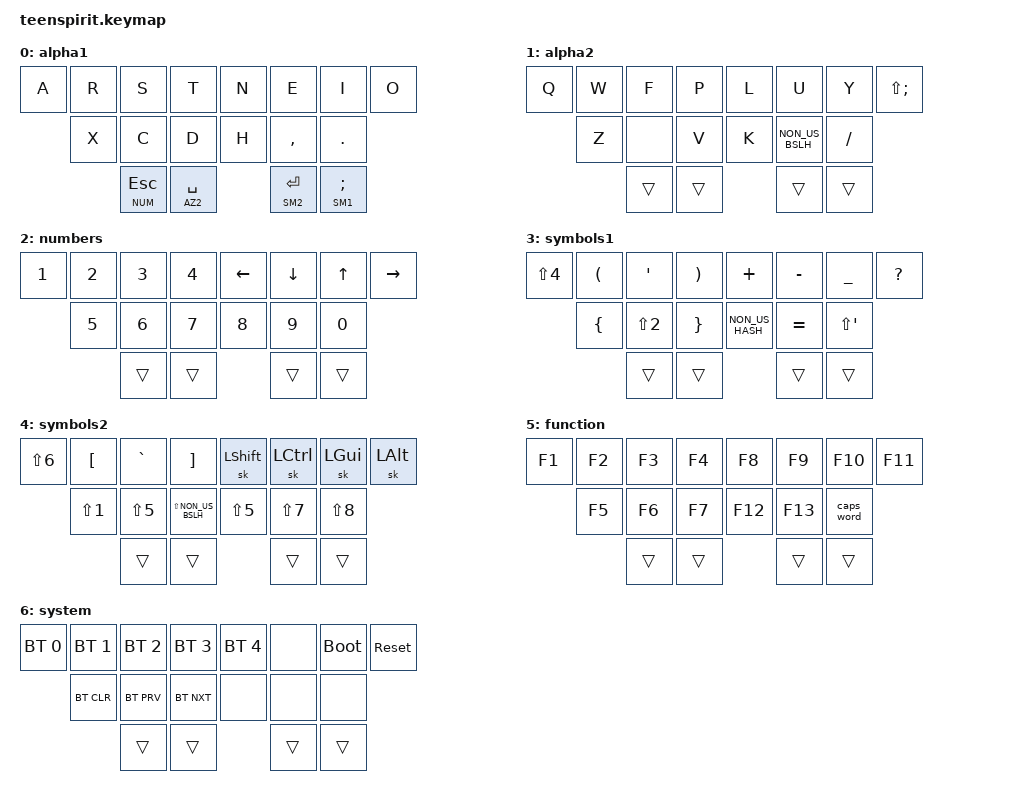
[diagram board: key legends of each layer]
#include <behaviors.dtsi>
#include <dt-bindings/zmk/keys.h>
#include <dt-bindings/zmk/bt.h>

#define AZ1 0
#define AZ2 1
#define NUM 2
#define SM1 3
#define SM2 4
#define FUN 5
#define SYS 6

//  _______________________  _______________________
// |  0  |  1  |  2  |  3  \/   4 |   5 |   6 |   7 |
//       \  8  |  9  | 10  /\  11 |  12 |  13 /
//             \ 14  | 15 /  \ 16 |  17 /
//              ----------    ----------

/ {
		combos {
			compatible = "zmk,combos";

			combo_bkspc {
				key-positions = <14 15>;
				bindings = <&kp BSPC>;
			};

			combo_tmux {
				key-positions = <16 17>;
				bindings = <&kp LC(A)>;
			};

			combo_esc {
				key-positions = <4 6>;
				bindings = <&kp ESC>;
			};

			combo_tab {
				key-positions = <1 3>;
				bindings = <&kp TAB>;
			};
			
			combo_fn {
				key-positions = <15 16>;
				bindings = <&mo FUN>;
			};

			combo_sys {
				key-positions = <14 17>;
				bindings = <&mo SYS>;
			};

			combo_g {
				key-positions = <2 3>;
				bindings = <&kp G>;
				layers = <AZ1>;
			};

			combo_m {
				key-positions = <4 5>;
				bindings = <&kp M>;
				layers = <AZ1>;
			};

			combo_b {
				key-positions = <2 3>;
				bindings = <&kp B>;
				layers = <AZ2>;
			};

			combo_j {
				key-positions = <4 5>;
				bindings = <&kp J>;
				layers = <AZ2>;
			};

			combo_lt {
				key-positions = <4 11>;
				bindings = <&kp LT>;
				layers = <SM1>;
			};

			combo_gt {
				key-positions = <6 13>;
				bindings = <&kp GT>;
				layers = <SM1>;
			};

			combo_nxt {
				key-positions = <6 11>;
				bindings = <&kp LG(LC(RIGHT))>;
				layers = <AZ1>;
			};

			combo_prv {
				key-positions = <1 10>;
				bindings = <&kp LG(LC(LEFT))>;
				layers = <AZ1>;
			};

			combo_tilde {
				key-positions = <11 13>;
				bindings = <&kp LS(NON_US_HASH)>;
				layers = <SM1	SM2>;
			};
		};

    keymap {
        compatible = "zmk,keymap";

        alpha1 {
            bindings = <
                &kp A    &kp R     &kp S     &kp T        &kp N    &kp E     &kp I     &kp O
                         &kp X     &kp C     &kp D        &kp H    &kp COMMA &kp DOT
                                   &lt NUM ESC   &lt AZ2 SPACE    &lt SM2 RET  &lt SM1 SEMI
            >;
        };
        alpha2 {
            bindings = <
                &kp Q    &kp W     &kp F     &kp P        &kp L    &kp U     &kp Y    &kp LS(SEMI) 
                         &kp Z     &none     &kp V        &kp K    &kp NON_US_BSLH &kp SLASH
                                   &trans    &trans    &trans  &trans
            >;
        };
        numbers {
            bindings = <
                &kp N1    &kp N2  &kp N3     &kp N4        &kp LEFT &kp DOWN &kp UP     &kp RIGHT
                          &kp N5  &kp N6     &kp N7        &kp N8   &kp N9	 &kp N0
                                  &trans     &trans        &trans   &trans
            >;
        };
        symbols1 {
            bindings = <
                &kp LS(N4)    &kp LPAR     &kp SQT     &kp RPAR        &kp PLUS    &kp MINUS  &kp UNDER  &kp QMARK
                              &kp LBRC		 &kp LS(N2)   &kp RBRC        &kp NON_US_HASH &kp EQUAL	&kp LS(SQT)
                                           &trans      &trans          &trans    &trans
            >;
        };
        symbols2 {
            bindings = <
                &kp LS(N6)    &kp LBKT     &kp GRAVE   &kp RBKT              &sk LSHIFT &sk LCTRL  &sk LGUI  &sk LALT
                              &kp LS(N1)	 &kp LS(N5)  &kp LS(NON_US_BSLH)   &kp LS(N5) &kp LS(N7)	&kp LS(N8)
                                           &trans      &trans                &trans    &trans
            >;
        };
        function {
            bindings = <
                &kp F1    &kp F2     &kp F3     &kp F4        &kp F8    &kp F9  &kp F10      &kp F11
                              &kp F5		 &kp F6  &kp F7        &kp F12 &kp F13	&caps_word
                                           &trans      &trans          &trans    &trans
            >;
        };
        system {
            bindings = <
                &bt BT_SEL 0  &bt BT_SEL 1 &bt BT_SEL 2  &bt BT_SEL 3        &bt BT_SEL 4  &none  &bootloader  &sys_reset
                              &bt BT_CLR   &bt BT_PRV    &bt BT_NXT          &none         &none  &none
                                           &trans        &trans              &trans        &trans
            >;
        };
    };
};
